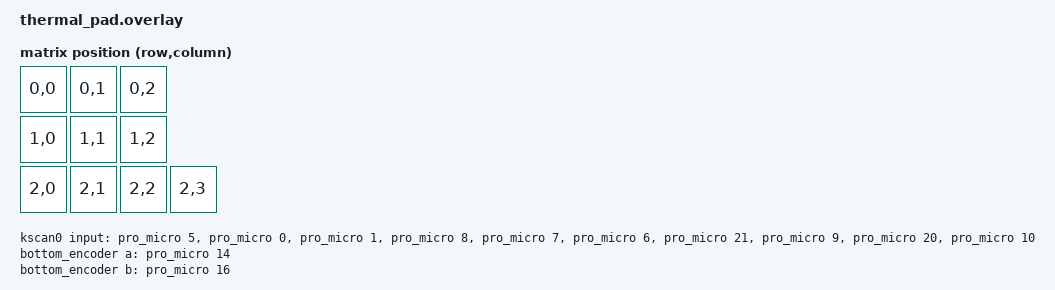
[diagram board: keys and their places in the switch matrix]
#include <dt-bindings/zmk/matrix_transform.h>

/ {
    chosen {
        zephyr,display = &oled;
        zmk,kscan = &kscan0;
        zmk,matrix-transform = &default_transform;
    };

    kscan0: kscan {
        compatible = "zmk,kscan-gpio-direct";
        wakeup-source;
        input-gpios
            = <&pro_micro 5 (GPIO_ACTIVE_LOW | GPIO_PULL_UP)>
            , <&pro_micro 0 (GPIO_ACTIVE_LOW | GPIO_PULL_UP)>
            , <&pro_micro 1 (GPIO_ACTIVE_LOW | GPIO_PULL_UP)>
            , <&pro_micro 8 (GPIO_ACTIVE_LOW | GPIO_PULL_UP)>
            , <&pro_micro 7 (GPIO_ACTIVE_LOW | GPIO_PULL_UP)>
            , <&pro_micro 6 (GPIO_ACTIVE_LOW | GPIO_PULL_UP)>
            , <&pro_micro 21 (GPIO_ACTIVE_LOW | GPIO_PULL_UP)>
            , <&pro_micro 9 (GPIO_ACTIVE_LOW | GPIO_PULL_UP)>
            , <&pro_micro 20 (GPIO_ACTIVE_LOW | GPIO_PULL_UP)>
            , <&pro_micro 10 (GPIO_ACTIVE_LOW | GPIO_PULL_UP)>
            ;
    };

    default_transform: matrix_transform {
        compatible = "zmk,matrix-transform";
        rows = <3>;
        columns = <4>;
            map = <
            RC(0,0) RC(0,1) RC(0,2)
            RC(1,0) RC(1,1) RC(1,2)
            RC(2,0) RC(2,1) RC(2,2) RC(2,3)
        >;
    };

    bottom_encoder: encoder_bottom {
        compatible = "alps,ec11";
        a-gpios = <&pro_micro 14 (GPIO_ACTIVE_HIGH | GPIO_PULL_UP)>;
        b-gpios = <&pro_micro 16 (GPIO_ACTIVE_HIGH | GPIO_PULL_UP)>;
        steps = <80>;
        status = "okay";
    };
    sensors: sensors {
        compatible = "zmk,keymap-sensors";
        sensors = <&bottom_encoder>;
        triggers-per-rotation = <20>;
    };
};

&pro_micro_i2c {
    status = "okay";

    oled: ssd1306@3c {
        compatible = "solomon,ssd1306fb";
        reg = <0x3c>;
        width = <128>;
        height = <32>;
        segment-offset = <0>;
        page-offset = <0>;
        display-offset = <0>;
        multiplex-ratio = <31>;
        segment-remap;
        com-invdir;
        com-sequential;
        inversion-on;
        prechargep = <0x22>;
    };
};
